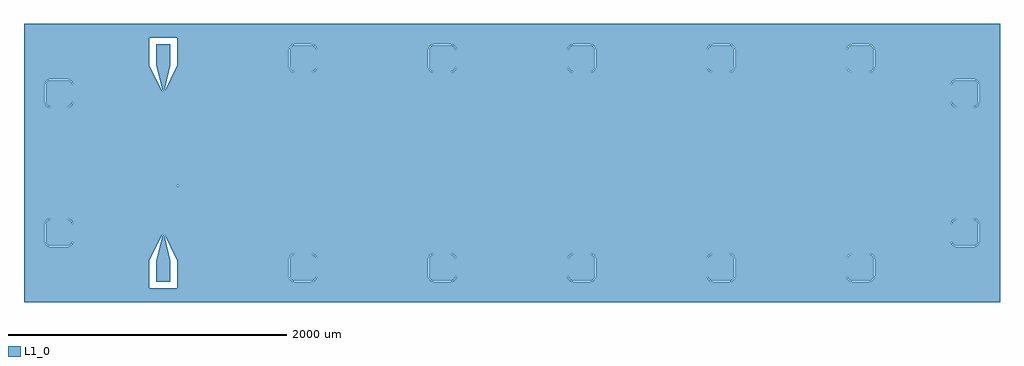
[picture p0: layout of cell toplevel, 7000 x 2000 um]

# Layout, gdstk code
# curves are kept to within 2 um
import gdstk
lib = gdstk.Library(unit=1e-6, precision=1e-09)
def P(c, l, *ps):  # polygons
    for p in ps: c.add(gdstk.Polygon(p, *l))
L1_0 = (1, 0)

toplevel = lib.new_cell('toplevel')
P(toplevel, L1_0, [(3500,1000),(3500,-1000),(3250,-1000),(3250,-600),(3310,-600),(3325.307,-596.955),(3343.259,-582.223),(3350,-560),(3350,-440),(3343.259,-417.777),(3332.223,-406.741),(3317.804,-400.769),(3250,-400),(3250,400),(3310,400),(3325.307,403.045),(3343.259,417.777),(3350,440),(3350,560),(3343.259,582.223),(3332.223,593.259),(3317.804,599.231),(3250,600),(3250,1000)],
  [(3250,-1000),(2500,-1000),(2500,-850),(2560,-850),(2575.307,-846.955),(2593.259,-832.223),(2600,-810),(2600,-690),(2593.259,-667.777),(2582.223,-656.741),(2567.804,-650.769),(2500,-650),(2500,650),(2560,650),(2575.307,653.045),(2593.259,667.777),(2600,690),(2600,810),(2593.259,832.223),(2582.223,843.259),(2567.804,849.231),(2500,850),(2500,1000),(3250,1000),(3250,600),(3190,600),(3174.693,596.955),(3156.741,582.223),(3150,560),(3150,440),(3156.741,417.777),(3167.777,406.741),(3182.196,400.769),(3250,400),(3250,-400),(3190,-400),(3174.693,-403.045),(3156.741,-417.777),(3150,-440),(3150,-560),(3156.741,-582.223),(3167.777,-593.259),(3182.196,-599.231),(3250,-600)],
  [(2500,-1000),(1500,-1000),(1500,-850),(1560,-850),(1575.307,-846.955),(1593.259,-832.223),(1600,-810),(1600,-690),(1593.259,-667.777),(1582.223,-656.741),(1567.804,-650.769),(1500,-650),(1500,650),(1560,650),(1575.307,653.045),(1593.259,667.777),(1600,690),(1600,810),(1593.259,832.223),(1582.223,843.259),(1567.804,849.231),(1500,850),(1500,1000),(2500,1000),(2500,850),(2440,850),(2424.693,846.955),(2406.741,832.223),(2400,810),(2400,690),(2406.741,667.777),(2417.777,656.741),(2432.196,650.769),(2500,650),(2500,-650),(2440,-650),(2424.693,-653.045),(2406.741,-667.777),(2400,-690),(2400,-810),(2406.741,-832.223),(2417.777,-843.259),(2432.196,-849.231),(2500,-850)],
  [(1500,-1000),(500,-1000),(500,-850),(560,-850),(575.307,-846.955),(593.259,-832.223),(600,-810),(600,-690),(593.259,-667.777),(582.223,-656.741),(567.804,-650.769),(500,-650),(500,650),(560,650),(575.307,653.045),(593.259,667.777),(600,690),(600,810),(593.259,832.223),(582.223,843.259),(567.804,849.231),(500,850),(500,1000),(1500,1000),(1500,850),(1440,850),(1424.693,846.955),(1406.741,832.223),(1400,810),(1400,690),(1406.741,667.777),(1417.777,656.741),(1432.196,650.769),(1500,650),(1500,-650),(1440,-650),(1424.693,-653.045),(1406.741,-667.777),(1400,-690),(1400,-810),(1406.741,-832.223),(1417.777,-843.259),(1432.196,-849.231),(1500,-850)],
  [(500,-1000),(-500,-1000),(-500,-850),(-440,-850),(-424.693,-846.955),(-406.741,-832.223),(-400,-810),(-400,-690),(-406.741,-667.777),(-417.777,-656.741),(-432.196,-650.769),(-500,-650),(-500,650),(-440,650),(-424.693,653.045),(-406.741,667.777),(-400,690),(-400,810),(-406.741,832.223),(-417.777,843.259),(-432.196,849.231),(-500,850),(-500,1000),(500,1000),(500,850),(440,850),(424.693,846.955),(406.741,832.223),(400,810),(400,690),(406.741,667.777),(417.777,656.741),(432.196,650.769),(500,650),(500,-650),(440,-650),(424.693,-653.045),(406.741,-667.777),(400,-690),(400,-810),(406.741,-832.223),(417.777,-843.259),(432.196,-849.231),(500,-850)],
  [(-500,-1000),(-1500,-1000),(-1500,-850),(-1440,-850),(-1424.693,-846.955),(-1406.741,-832.223),(-1400,-810),(-1400,-690),(-1406.741,-667.777),(-1417.777,-656.741),(-1432.196,-650.769),(-1500,-650),(-1500,650),(-1440,650),(-1424.693,653.045),(-1406.741,667.777),(-1400,690),(-1400,810),(-1406.741,832.223),(-1417.777,843.259),(-1432.196,849.231),(-1500,850),(-1500,1000),(-500,1000),(-500,850),(-560,850),(-575.307,846.955),(-593.259,832.223),(-600,810),(-600,690),(-593.259,667.777),(-582.223,656.741),(-567.804,650.769),(-500,650),(-500,-650),(-560,-650),(-575.307,-653.045),(-593.259,-667.777),(-600,-690),(-600,-810),(-593.259,-832.223),(-582.223,-843.259),(-567.804,-849.231),(-500,-850)],
  [(-1500,-1000),(-2328.477,-1000),(-2328.477,155.972),(-2320.379,147.656),(-2316.851,136.31),(-2316.785,-135.689),(-2311.911,-151.363),(-2298.795,-162.728),(-2280.652,-165.044),(-2265.102,-157.337),(-2256.187,-142.447),(-2255.149,136.31),(-2248.238,152.101),(-2232.793,159.756),(-2214.11,154.27),(-2204.914,137.107),(-2203.553,-143.389),(-2191.061,-160.355),(-2181.262,-164.644),(-2169.617,-165.198),(-2158.6,-161.385),(-2150.406,-154.51),(-2143.2,-134.734),(-2144.2,0),(-2146.334,-145.787),(-2157.493,-159.522),(-2175.418,-164.478),(-2192.791,-157.841),(-2202.593,-143.107),(-2203.919,137.202),(-2212.223,153.958),(-2230.416,160.908),(-2247.777,153.958),(-2256.081,137.202),(-2257.407,-143.107),(-2268.714,-158.986),(-2287.418,-164.478),(-2305.515,-157.233),(-2315.426,-139.42),(-2315.813,135.543),(-2318.344,145.972),(-2328.477,157.148),(-2328.477,161.263),(-2317.454,151.61),(-2312.335,137.544),(-2312.187,-135.543),(-2309.656,-145.972),(-2303.157,-154.512),(-2290.55,-160.513),(-2276.65,-159.186),(-2265.93,-151.552),(-2260.129,-138.851),(-2259.785,135.657),(-2257.3,146.659),(-2250.904,155.95),(-2237.026,163.672),(-2221.152,163.168),(-2207.791,154.581),(-2200.738,140.351),(-2200.187,-135.543),(-2196.041,-148.876),(-2184.884,-158.544),(-2171.096,-160.75),(-2157.48,-155.046),(-2149.108,-142.887),(-2147.8,0),(-2150.058,-142.574),(-2158.11,-154.27),(-2170.414,-159.655),(-2184.468,-157.634),(-2195.199,-148.335),(-2199.2,-134.689),(-2199.756,140.54),(-2206.406,154.51),(-2219.926,163.818),(-2236.308,164.859),(-2250.17,157.989),(-2257.81,147.949),(-2260.785,135.689),(-2261.256,-139.48),(-2270.11,-154.27),(-2285.6,-159.908),(-2301.89,-154.27),(-2310.744,-139.48),(-2311.262,136.665),(-2316.63,152.177),(-2328.477,162.382),(-2328.477,1000),(-1500,1000),(-1500,850),(-1560,850),(-1575.307,846.955),(-1593.259,832.223),(-1600,810),(-1600,690),(-1593.259,667.777),(-1582.223,656.741),(-1567.804,650.769),(-1500,650),(-1500,-650),(-1560,-650),(-1575.307,-653.045),(-1593.259,-667.777),(-1600,-690),(-1600,-810),(-1593.259,-832.223),(-1582.223,-843.259),(-1567.804,-849.231),(-1500,-850)],
  [(-2328.477,-1000),(-2500,-1000),(-2500,-900),(-2400,-900),(-2400,-700),(-2497.2,-501.633),(-2497.2,501.633),(-2400,700),(-2400,900),(-2500,900),(-2500,1000),(-2328.477,1000),(-2328.477,162.382),(-2342.489,165.508),(-2356.546,161.86),(-2367.37,152.177),(-2372.414,139.578),(-2373.256,-139.48),(-2382.11,-154.27),(-2397.6,-159.908),(-2413.89,-154.27),(-2422.744,-139.48),(-2423.2,134.734),(-2425.406,146.159),(-2438.6,161.385),(-2459.348,165.044),(-2477.594,154.51),(-2484.8,134.734),(-2484.8,-201),(-2479.2,-201),(-2479.2,134.689),(-2477.086,144.815),(-2466.6,156.535),(-2452.003,159.832),(-2438.11,154.27),(-2429.608,141.04),(-2428.661,-137.639),(-2425.376,-148.825),(-2418.17,-157.989),(-2408.074,-163.818),(-2395.559,-165.415),(-2376.394,-156.663),(-2367.339,-137.639),(-2366.744,139.48),(-2361.808,150.289),(-2351.736,157.954),(-2340.003,159.832),(-2328.477,155.972)],
  [(-2500,-1000),(-3250,-1000),(-3250,-600),(-3190,-600),(-3174.693,-596.955),(-3156.741,-582.223),(-3150,-560),(-3150,-440),(-3156.741,-417.777),(-3167.777,-406.741),(-3182.196,-400.769),(-3250,-400),(-3250,400),(-3190,400),(-3174.693,403.045),(-3156.741,417.777),(-3150,440),(-3150,560),(-3156.741,582.223),(-3167.777,593.259),(-3182.196,599.231),(-3250,600),(-3250,1000),(-2500,1000),(-2500,900),(-2600,900),(-2600,700),(-2502.8,501.633),(-2502.8,-501.633),(-2600,-700),(-2600,-900),(-2500,-900)],
  [(-2328.477,157.148),(-2334.221,159.73),(-2339.924,160.829),(-2346.55,160.513),(-2352.122,158.877),(-2357.867,155.56),(-2362.07,151.552),(-2365.287,146.717),(-2367.556,140.484),(-2368.2,134.697),(-2368.335,-137.544),(-2369.155,-142.196),(-2371.093,-147.519),(-2373.454,-151.61),(-2377.096,-155.95),(-2380.714,-158.986),(-2385.621,-161.819),(-2390.974,-163.672),(-2395.638,-164.418),(-2401.303,-164.328),(-2406.848,-163.168),(-2412.074,-160.979),(-2416.791,-157.841),(-2421.425,-153.133),(-2424.488,-148.367),(-2426.593,-143.107),(-2427.665,-137.544),(-2427.8,134.697),(-2428.64,141.291),(-2431.959,148.876),(-2436.843,154.512),(-2443.878,158.877),(-2451.924,160.829),(-2460.177,160.173),(-2467.1,157.401),(-2473.526,152.181),(-2478.002,145.216),(-2479.556,140.484),(-2480.2,134.697),(-2480.2,-200),(-2483.8,-200),(-2483.8,134.726),(-2483.262,140.351),(-2481.3,146.659),(-2476.828,153.867),(-2473.515,157.233),(-2469.711,160.033),(-2465.513,162.198),(-2461.026,163.672),(-2452.582,164.478),(-2447.897,163.88),(-2443.365,162.549),(-2439.1,160.519),(-2435.209,157.841),(-2431.791,154.581),(-2428.93,150.823),(-2425.407,143.107),(-2424.2,134.726),(-2424.081,-137.202),(-2423.138,-142.093),(-2421.287,-146.717),(-2418.594,-150.907),(-2415.157,-154.512),(-2411.1,-157.401),(-2405.779,-159.73),(-2400.904,-160.75),(-2395.924,-160.829),(-2391.823,-160.173),(-2387.116,-158.544),(-2383.487,-156.525),(-2379.622,-153.384),(-2376.902,-150.246),(-2374.344,-145.972),(-2372.861,-142.093),(-2371.919,-137.202),(-2371.8,134.726),(-2371.068,141.277),(-2368.488,148.367),(-2364.828,153.867),(-2359.286,158.986),(-2352.635,162.549),(-2344.362,164.418),(-2335.897,163.88),(-2328.477,161.263)],
  [(-3250,-1000),(-3500,-1000),(-3500,1000),(-3250,1000),(-3250,600),(-3310,600),(-3325.307,596.955),(-3343.259,582.223),(-3350,560),(-3350,440),(-3343.259,417.777),(-3332.223,406.741),(-3317.804,400.769),(-3250,400),(-3250,-400),(-3310,-400),(-3325.307,-403.045),(-3343.259,-417.777),(-3350,-440),(-3350,-560),(-3343.259,-582.223),(-3332.223,-593.259),(-3317.804,-599.231),(-3250,-600)],
  [(-1409.251,-674.03),(-1405,-691),(-1405.173,-812.529),(-1409.251,-825.97),(-1418.162,-836.828),(-1437.471,-844.827),(-1559,-845),(-1572.777,-842.26),(-1586.828,-831.838),(-1594.827,-812.529),(-1595,-691),(-1592.26,-677.223),(-1581.838,-663.172),(-1562.529,-655.173),(-1437.471,-655.173),(-1421,-661.067)],
  [(-418.162,-663.172),(-407.74,-677.223),(-405,-691),(-405.173,-812.529),(-407.74,-822.777),(-415.544,-834.456),(-427.223,-842.26),(-441,-845),(-562.529,-844.827),(-572.777,-842.26),(-584.456,-834.456),(-592.26,-822.777),(-595,-809),(-594.827,-687.471),(-592.26,-677.223),(-584.456,-665.544),(-572.777,-657.74),(-559,-655),(-437.471,-655.173)],
  [(-3343.45,-430.55),(-3331.838,-413.172),(-3312.529,-405.173),(-3187.471,-405.173),(-3168.162,-413.172),(-3157.74,-427.223),(-3155,-441),(-3155.173,-562.529),(-3163.172,-581.838),(-3177.223,-592.26),(-3191,-595),(-3312.529,-594.827),(-3331.838,-586.828),(-3340.749,-575.97),(-3344.827,-562.529)],
  [(-2498.2,-500),(-2450,-700),(-2450,-850),(-2550,-850),(-2550,-700),(-2501.8,-500),(-2501.8,500),(-2550,700),(-2550,850),(-2450,850),(-2450,700),(-2498.2,500)],
  [(-3155.173,437.471),(-3157.74,427.223),(-3165.544,415.544),(-3177.223,407.74),(-3187.471,405.173),(-3312.529,405.173),(-3331.838,413.172),(-3342.26,427.223),(-3345,441),(-3344.827,562.529),(-3336.828,581.838),(-3322.777,592.26),(-3309,595),(-3187.471,594.827),(-3168.162,586.828),(-3159.251,575.97),(-3155.173,562.529)],
  [(-1405,691),(-1407.74,677.223),(-1413.172,668.162),(-1421,661.067),(-1433.977,655.692),(-1562.529,655.173),(-1581.838,663.172),(-1592.26,677.223),(-1595,691),(-1594.827,812.529),(-1586.828,831.838),(-1572.777,842.26),(-1559,845),(-1437.471,844.827),(-1418.162,836.828),(-1409.251,825.97),(-1405.173,812.529)],
  [(-575.97,659.251),(-588.933,670.999),(-594.827,687.471),(-594.827,812.529),(-586.828,831.838),(-572.777,842.26),(-559,845),(-437.471,844.827),(-418.162,836.828),(-407.74,822.777),(-405,809),(-405.173,687.471),(-413.172,668.162),(-424.03,659.251),(-437.471,655.173),(-559,655)],
  [(579,-838.933),(559,-845),(441,-845),(427.223,-842.26),(415.544,-834.456),(407.74,-822.777),(405,-809),(405.173,-687.471),(407.74,-677.223),(415.544,-665.544),(427.223,-657.74),(441,-655),(562.529,-655.173),(572.777,-657.74),(584.456,-665.544),(592.26,-677.223),(594.827,-687.471),(595,-809),(590.749,-825.97)],
  [(1594.308,-816.023),(1584.456,-834.456),(1572.777,-842.26),(1562.529,-844.827),(1437.471,-844.827),(1418.162,-836.828),(1407.74,-822.777),(1405,-809),(1405.173,-687.471),(1413.172,-668.162),(1427.223,-657.74),(1441,-655),(1562.529,-655.173),(1581.838,-663.172),(1590.749,-674.03),(1594.827,-687.471)],
  [(2562.529,-655.173),(2572.777,-657.74),(2584.456,-665.544),(2592.26,-677.223),(2594.827,-687.471),(2594.827,-812.529),(2586.828,-831.838),(2572.777,-842.26),(2559,-845),(2437.471,-844.827),(2418.162,-836.828),(2407.74,-822.777),(2405,-809),(2405.173,-687.471),(2413.172,-668.162),(2424.03,-659.251),(2437.471,-655.173)],
  [(3187.471,-405.173),(3312.529,-405.173),(3325.97,-409.251),(3336.828,-418.162),(3344.827,-437.471),(3345,-559),(3342.26,-572.777),(3331.838,-586.828),(3312.529,-594.827),(3191,-595),(3177.223,-592.26),(3163.172,-581.838),(3155.173,-562.529),(3155.173,-437.471),(3157.74,-427.223),(3165.544,-415.544),(3177.223,-407.74)],
  [(3177.223,407.74),(3161.067,420.999),(3155.173,437.471),(3155.173,562.529),(3163.172,581.838),(3177.223,592.26),(3191,595),(3312.529,594.827),(3331.838,586.828),(3342.26,572.777),(3345,559),(3344.827,437.471),(3336.828,418.162),(3325.97,409.251),(3312.529,405.173),(3191,405)],
  [(406.55,680.55),(405.173,812.529),(409.251,825.97),(418.162,836.828),(437.471,844.827),(559,845),(572.777,842.26),(586.828,831.838),(594.827,812.529),(595,691),(592.26,677.223),(581.838,663.172),(562.529,655.173),(437.471,655.173),(418.162,663.172)],
  [(1407.74,822.777),(1421,838.933),(1437.471,844.827),(1562.529,844.827),(1581.838,836.828),(1592.26,822.777),(1595,809),(1594.827,687.471),(1586.828,668.162),(1572.777,657.74),(1559,655),(1437.471,655.173),(1418.162,663.172),(1409.251,674.03),(1405.173,687.471),(1405,809)],
  [(2559,655),(2437.471,655.173),(2424.03,659.251),(2413.172,668.162),(2405.173,687.471),(2405,809),(2407.74,822.777),(2418.162,836.828),(2437.471,844.827),(2559,845),(2572.777,842.26),(2586.828,831.838),(2594.827,812.529),(2594.308,683.977),(2588.933,670.999),(2581.838,663.172),(2572.777,657.74)])

lib.write_gds('toplevel.gds')
